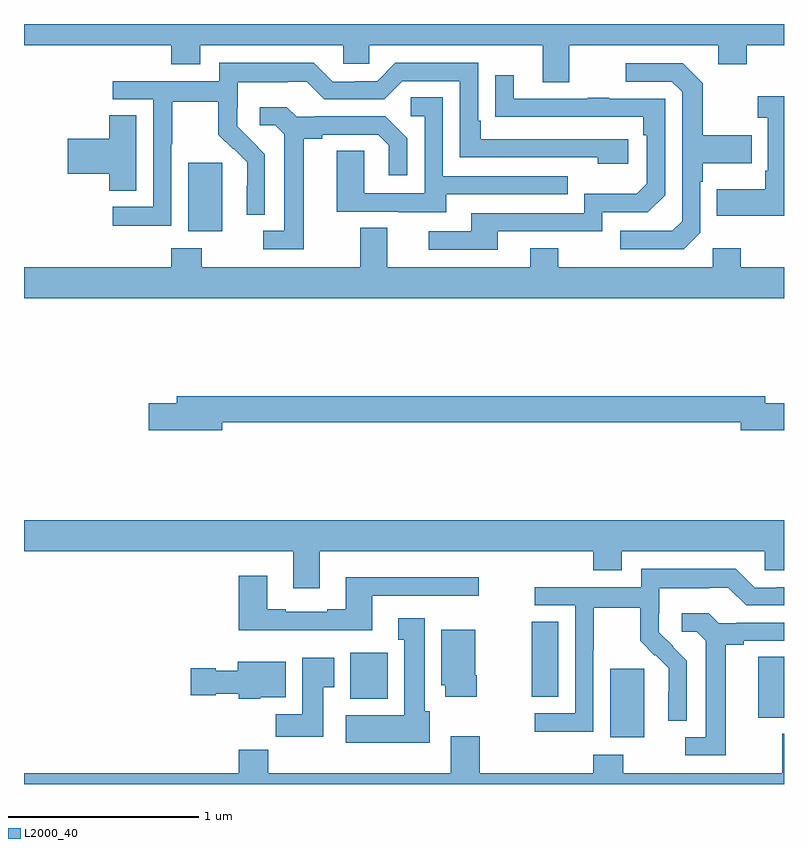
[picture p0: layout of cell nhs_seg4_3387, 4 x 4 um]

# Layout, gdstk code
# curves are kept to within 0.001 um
import gdstk
lib = gdstk.Library(unit=1e-6, precision=1e-09)
def R(c, l, rs):  # rectangles x0, y0, x1, y1
    for r in rs: c.add(gdstk.rectangle(r[:2], r[2:], *l))
def P(c, l, *ps):  # polygons
    for p in ps: c.add(gdstk.Polygon(p, *l))
L2000_40 = (2000, 40)

nhs_seg4_3387 = lib.new_cell('nhs_seg4_3387')
R(nhs_seg4_3387, L2000_40, [(292.085,825.146,292.264,825.507), (292.865,825.249,293,825.569), (290.717,825.35,290.914,825.592), (291.673,825.358,291.811,825.755), (289.865,827.81,290.044,828.171)])
P(nhs_seg4_3387, L2000_40, [(289,828.788),(289.775,828.788),(289.775,828.689),(289.927,828.689),(289.927,828.788),(290.679,828.788),(290.679,828.69),(290.817,828.69),(290.817,828.788),(291.731,828.788),(291.731,828.594),(291.871,828.594),(291.871,828.788),(292.655,828.788),(292.655,828.689),(292.803,828.689),(292.803,828.788),(293,828.788),(293,828.9),(289,828.9)],
  [(289.776,828.268),(289.779,828.268),(289.779,828.492),(290.023,828.492),(290.023,828.317),(290.1,828.24),(290.103,828.243),(290.174,828.173),(290.174,828.05),(290.172,828.05),(290.172,827.896),(290.268,827.896),(290.268,828.214),(290.122,828.362),(290.122,828.459),(290.124,828.459),(290.124,828.593),(290.387,828.593),(290.387,828.597),(290.487,828.597),(290.58,828.504),(290.895,828.504),(290.991,828.6),(291.294,828.6),(291.294,828.198),(292.019,828.198),(292.019,828.164),(292.18,828.164),(292.18,828.294),(291.403,828.294),(291.403,828.391),(291.39,828.391),(291.39,828.696),(290.955,828.696),(290.859,828.6),(290.741,828.6),(290.741,828.597),(290.625,828.597),(290.525,828.697),(290.028,828.697),(290.028,828.6),(289.467,828.6),(289.467,828.504),(289.68,828.504),(289.68,827.937),(289.467,827.937),(289.467,827.839),(289.776,827.839)],
  [(292.56,827.802),(292.56,828.071),(292.573,828.071),(292.573,828.167),(292.829,828.167),(292.829,828.315),(292.573,828.315),(292.573,828.587),(292.467,828.693),(292.167,828.693),(292.167,828.597),(292.41,828.597),(292.464,828.543),(292.464,827.862),(292.413,827.811),(292.137,827.811),(292.137,827.715),(292.473,827.715)],
  [(291.493,827.808),(292.044,827.808),(292.044,827.91),(292.284,827.91),(292.374,828),(292.374,828.507),(292.079,828.507),(292.079,828.512),(291.967,828.512),(291.967,828.507),(291.577,828.507),(291.577,828.631),(291.481,828.631),(291.481,828.412),(292.258,828.411),(292.258,828.314),(292.278,828.314),(292.278,828.06),(292.225,828.007),(291.948,828.007),(291.948,827.904),(291.353,827.904),(291.353,827.808),(291.129,827.808),(291.129,827.712),(291.493,827.712)],
  [(293,828.52),(292.863,828.52),(292.863,828.407),(292.914,828.407),(292.914,828.127),(292.902,828.127),(292.902,828.031),(292.645,828.031),(292.645,827.891),(293,827.891)],
  [(291.223,828.003),(291.863,828.003),(291.863,828.099),(291.204,828.099),(291.204,828.515),(291.036,828.515),(291.036,828.414),(291.108,828.414),(291.108,828.009),(290.79,828.009),(290.79,828.233),(290.645,828.233),(290.645,827.913),(290.969,827.913),(290.969,827.909),(291.223,827.909)],
  [(290.473,828.296),(290.569,828.296),(290.569,828.318),(290.864,828.318),(290.921,828.261),(290.921,828.105),(291.018,828.105),(291.018,828.298),(290.902,828.414),(290.53,828.414),(290.53,828.411),(290.436,828.411),(290.384,828.463),(290.241,828.463),(290.241,828.366),(290.322,828.366),(290.369,828.319),(290.369,827.811),(290.259,827.811),(290.259,827.715),(290.473,827.715)],
  [(289.591,828.419),(289.448,828.419),(289.448,828.296),(289.23,828.296),(289.23,828.113),(289.448,828.113),(289.448,828.022),(289.591,828.022)],
  [(293,827.62),(292.773,827.62),(292.773,827.719),(292.626,827.719),(292.626,827.62),(291.813,827.62),(291.813,827.719),(291.665,827.719),(291.665,827.62),(290.911,827.62),(290.911,827.828),(290.771,827.828),(290.771,827.62),(289.935,827.62),(289.935,827.719),(289.775,827.719),(289.775,827.62),(289,827.62),(289,827.456),(293,827.456)],
  [(290.044,826.804),(292.772,826.804),(292.772,826.762),(293,826.762),(293,826.904),(292.9,826.904),(292.9,826.94),(289.805,826.94),(289.805,826.904),(289.656,826.904),(289.656,826.762),(290.044,826.762)],
  [(290.557,826.124),(291.995,826.124),(291.995,826.025),(292.147,826.025),(292.147,826.124),(292.899,826.124),(292.899,826.026),(293,826.026),(293,826.288),(289,826.288),(289,826.124),(290.417,826.124),(290.417,825.93),(290.557,825.93)],
  [(291.996,825.604),(291.999,825.604),(291.999,825.828),(292.243,825.828),(292.243,825.653),(292.32,825.576),(292.323,825.579),(292.394,825.509),(292.394,825.386),(292.392,825.386),(292.392,825.232),(292.488,825.232),(292.488,825.55),(292.342,825.698),(292.342,825.795),(292.344,825.795),(292.344,825.929),(292.607,825.929),(292.607,825.933),(292.707,825.933),(292.8,825.84),(293,825.84),(293,825.936),(292.961,825.936),(292.961,825.933),(292.845,825.933),(292.745,826.033),(292.248,826.033),(292.248,825.936),(291.687,825.936),(291.687,825.84),(291.9,825.84),(291.9,825.273),(291.687,825.273),(291.687,825.175),(291.996,825.175)],
  [(290.833,825.891),(291.394,825.891),(291.394,825.988),(290.693,825.988),(290.693,825.82),(290.597,825.82),(290.597,825.807),(290.377,825.807),(290.377,825.82),(290.281,825.82),(290.281,825.997),(290.129,825.997),(290.129,825.71),(290.833,825.71)],
  [(292.693,825.632),(292.789,825.632),(292.789,825.654),(293,825.654),(293,825.75),(292.75,825.75),(292.75,825.747),(292.656,825.747),(292.604,825.799),(292.461,825.799),(292.461,825.702),(292.542,825.702),(292.589,825.655),(292.589,825.147),(292.479,825.147),(292.479,825.051),(292.693,825.051)],
  [(291.136,825.282),(291.109,825.282),(291.109,825.772),(290.969,825.772),(290.969,825.659),(291.002,825.659),(291.002,825.262),(290.693,825.262),(290.693,825.116),(291.136,825.116)],
  [(291.384,825.472),(291.376,825.472),(291.376,825.712),(291.197,825.712),(291.197,825.42),(291.218,825.42),(291.218,825.36),(291.384,825.36)],
  [(290.575,825.409),(290.632,825.409),(290.632,825.565),(290.465,825.565),(290.465,825.268),(290.326,825.268),(290.326,825.15),(290.575,825.15)],
  [(290.244,825.356),(290.377,825.356),(290.377,825.544),(290.126,825.544),(290.126,825.496),(290.01,825.496),(290.01,825.509),(289.878,825.509),(289.878,825.367),(290.01,825.367),(290.01,825.374),(290.13,825.374),(290.13,825.35),(290.244,825.35)],
  [(293,825.164),(292.991,825.164),(292.991,824.956),(292.155,824.956),(292.155,825.055),(291.995,825.055),(291.995,824.956),(291.398,824.956),(291.398,825.151),(291.245,825.151),(291.245,824.956),(290.285,824.956),(290.285,825.08),(290.129,825.08),(290.129,824.956),(289,824.956),(289,824.9),(293,824.9)])

lib.write_gds('nhs_seg4_3387.gds')
